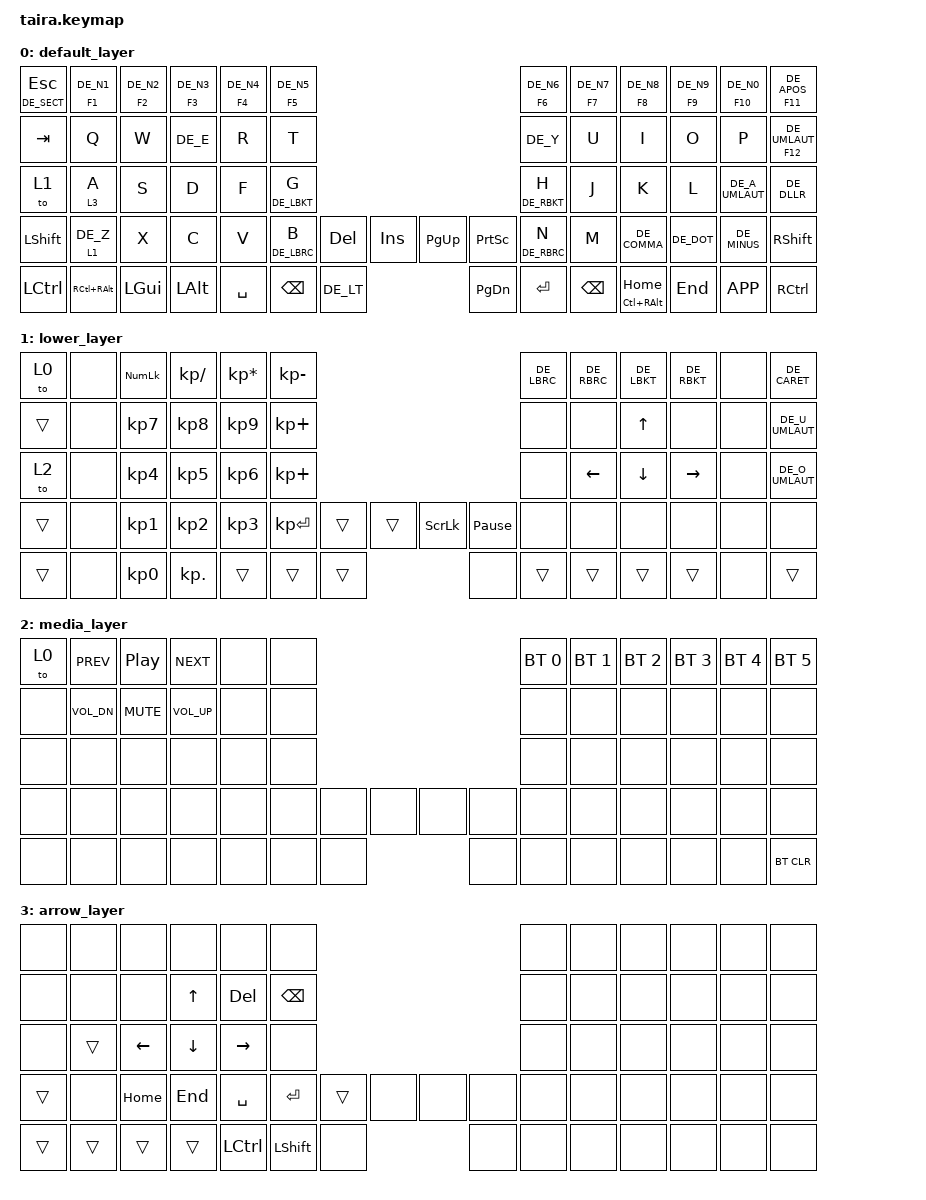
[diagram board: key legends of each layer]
/*
 * Copyright (c) 2020 The ZMK Contributors
 *
 * SPDX-License-Identifier: MIT
 */

#include <behaviors.dtsi>
#include <dt-bindings/zmk/keys.h>
#include <dt-bindings/zmk/outputs.h>
#include <dt-bindings/zmk/bt.h>
#include "keys_de_swiss.h"

/ {    
    behaviors {
            kp_kp: kp_kp {
            compatible = "zmk,behavior-hold-tap";
            label = "KP_KP";
            bindings = <&kp>, <&kp>;
            #binding-cells = <2>;
            tapping-term-ms = <200>;
            flavor = "tap-preferred";
            };                
    };
        
    keymap {
        compatible = "zmk,keymap";

        default_layer {
            bindings = <
&kp_kp DE_SECT ESC  &kp_kp F1 DE_N1  &kp_kp F2 DE_N2  &kp_kp F3 DE_N3  &kp_kp F4 DE_N4  &kp_kp F5 DE_N5                                                                      &kp_kp F6 DE_N6    &kp_kp F7 DE_N7  &kp_kp F8 DE_N8      &kp_kp F9 DE_N9  &kp_kp F10 DE_N0      &kp_kp F11 DE_APOS
&kp TAB             &kp  Q           &kp  W           &kp  DE_E        &kp  R           &kp  T                                                                               &kp  DE_Y          &kp  U           &kp  I               &kp  O           &kp  P                &kp_kp F12 DE_UMLAUT
&to 1               &lt  3 A         &kp  S           &kp  D           &kp  F           &kp_kp  DE_LBKT G                                                                    &kp_kp  DE_RBKT H  &kp  J           &kp  K               &kp  L           &kp  DE_A_UMLAUT      &kp  DE_DLLR
&kp LSHFT           &lt  1 DE_Z      &kp  X           &kp  C           &kp  V           &kp_kp  DE_LBRC B          &kp  DEL    &kp  INS    &kp PG_UP   &kp  PSCRN            &kp_kp  DE_RBRC N  &kp  M           &kp  DE_COMMA        &kp  DE_DOT      &kp  DE_MINUS         &kp  RSHFT
&kp LCTRL           &kp  RC(RALT)    &kp LGUI         &kp  LALT                                          &kp SPACE &kp  BSPC   &kp  DE_LT  &kp PG_DN   &kp  ENTER  &kp BSPC                                      &kp_kp LC(RALT) HOME &kp  END         &kp  K_APP            &kp  RCTRL
                        >;
                };

        lower_layer {
                bindings = <
&to 0      &none      &kp KP_NLCK  &kp KP_DIVIDE &kp KP_MULTIPLY &kp KP_MINUS                                                                         &kp DE_LBRC  &kp DE_RBRC  &kp DE_LBKT  &kp DE_RBKT  &none  &kp DE_CARET
&trans     &none      &kp KP_N7    &kp KP_N8     &kp KP_N9       &kp KP_PLUS                                                                          &none        &none        &kp UP       &none        &none  &kp DE_U_UMLAUT
&to 2      &none      &kp KP_N4    &kp KP_N5     &kp KP_N6       &kp KP_PLUS                                                                          &none        &kp LEFT     &kp DOWN     &kp RIGHT    &none  &kp DE_O_UMLAUT
&trans     &none      &kp KP_N1    &kp KP_N2     &kp KP_N3       &kp KP_ENTER              &trans  &trans &kp SLCK &kp PAUSE_BREAK                    &none        &none        &none        &none        &none  &none
&trans     &none      &kp KP_N0    &kp KP_DOT                                      &trans  &trans  &trans &none    &trans            &trans                                     &trans       &trans       &none  &trans
                        >;
                };

        media_layer {
                bindings = <
&to 0    &kp C_PREV    &kp C_PP    &kp C_NEXT     &none    &none                                                          &bt BT_SEL 0 &bt BT_SEL 1 &bt BT_SEL 2 &bt BT_SEL 3 &bt BT_SEL 4 &bt BT_SEL 5
&none    &kp C_VOL_DN  &kp C_MUTE  &kp C_VOL_UP   &none    &none                                                          &none        &none        &none        &none        &none        &none
&none    &none         &none       &none          &none    &none                                                          &none        &none        &none        &none        &none        &none
&none    &none         &none       &none          &none    &none             &none    &none    &none    &none             &none        &none        &none        &none        &none        &none
&none    &none         &none       &none                            &none    &none    &none    &none    &none    &none                              &none        &none        &none        &bt BT_CLR
                        >;
                };     

        arrow_layer {
                bindings = <
&none    &none    &none       &none          &none      &none                                                             &none        &none        &none        &none        &none        &none
&none    &none    &none       &kp UP         &kp DEL    &kp BSPC                                                          &none        &none        &none        &none        &none        &none
&none    &trans   &kp LEFT    &kp DOWN       &kp RIGHT  &none                                                             &none        &none        &none        &none        &none        &none
&trans   &none    &kp HOME    &kp END        &kp SPACE  &kp ENTER            &trans    &none    &none    &none            &none        &none        &none        &none        &none        &none
&trans   &trans   &trans      &trans                               &kp LCTRL &kp LSHFT &none    &none    &none    &none                             &none        &none        &none        &none
                        >;
                };
        };
};
